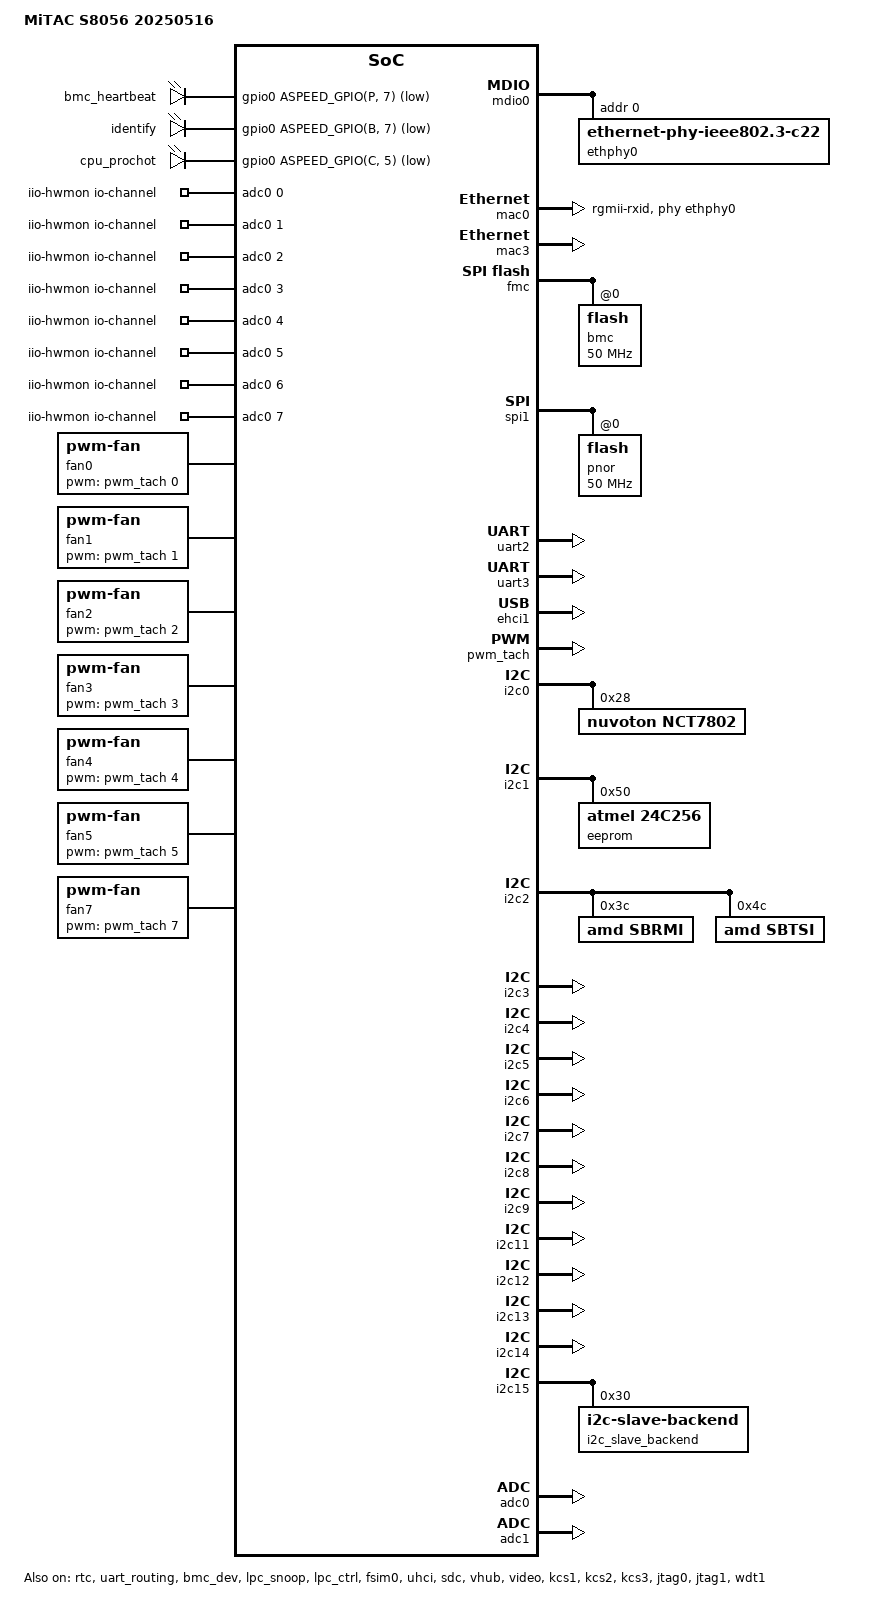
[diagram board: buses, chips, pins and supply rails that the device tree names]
// SPDX-License-Identifier: GPL-2.0-or-later
// Copyright 2019 IBM Corp.

/dts-v1/;

#include "aspeed-g6.dtsi"
#include <dt-bindings/gpio/aspeed-gpio.h>

/ {
	model = "MiTAC S8056 20250516";
	#include "aspeed-bmc-mitac-2600-reserved-memory.dtsi"

        leds {
                compatible = "gpio-leds";

                bmc_heartbeat {
                        gpios = <&gpio0 ASPEED_GPIO(P, 7) GPIO_ACTIVE_LOW>;
                        default-state = "on";
                };
		//Unable to use aspeed-bmc-mitac-common-leds.dtsi due to S8056 has different arrangement for identify led.
                identify {
                        gpios = <&gpio0 ASPEED_GPIO(B, 7) GPIO_ACTIVE_LOW>;
                        default-state = "on";
                };
                cpu_prochot {
                        gpios = <&gpio0 ASPEED_GPIO(C, 5) GPIO_ACTIVE_LOW>;
                        default-state = "off";
                };
        };

        gpio-keys {
                compatible = "gpio-keys";

		#include "aspeed-bmc-mitac-common-buttons.dtsi"
        };

        iio-hwmon {
                compatible = "iio-hwmon";
                io-channels = <&adc0 0>, <&adc0 1>, <&adc0 2>, <&adc0 3>,
                        <&adc0 4>, <&adc0 5>, <&adc0 6>, <&adc0 7>,
                        <&adc1 0>, <&adc1 1>, <&adc1 2>, <&adc1 3>,
                        <&adc1 4>, <&adc1 5>, <&adc1 6>, <&adc1 7>;
        };

        fan0: pwm-fan0 {
                compatible = "pwm-fan";
                pwms = <&pwm_tach 0 40000 0>;   /* Target freq:25 kHz */
                cooling-min-state = <0>;
                cooling-max-state = <3>;
                #cooling-cells = <2>;
                cooling-levels = <0 20 40 64>;
        };

        fan1: pwm-fan1 {
                compatible = "pwm-fan";
                pwms = <&pwm_tach 1 40000 0>;   /* Target freq:25 kHz */
                cooling-min-state = <0>;
                cooling-max-state = <3>;
                #cooling-cells = <2>;
                cooling-levels = <0 32 64 128>;
        };

        fan2: pwm-fan2 {
                compatible = "pwm-fan";
                pwms = <&pwm_tach 2 40000 0>;   /* Target freq:25 kHz */
                cooling-min-state = <0>;
                cooling-max-state = <3>;
                #cooling-cells = <2>;
                cooling-levels = <0 32 64 128>;
        };

        fan3: pwm-fan3 {
                compatible = "pwm-fan";
                pwms = <&pwm_tach 3 40000 0>;   /* Target freq:25 kHz */
                cooling-min-state = <0>;
                cooling-max-state = <3>;
                #cooling-cells = <2>;
                cooling-levels = <0 20 40 64>;
        };

        fan4: pwm-fan4 {
                compatible = "pwm-fan";
                pwms = <&pwm_tach 4 40000 0>;   /* Target freq:25 kHz */
                cooling-min-state = <0>;
                cooling-max-state = <3>;
                #cooling-cells = <2>;
                cooling-levels = <0 32 64 128>;
        };

        fan5: pwm-fan5 {
                compatible = "pwm-fan";
                pwms = <&pwm_tach 5 40000 0>;   /* Target freq:25 kHz */
                cooling-min-state = <0>;
                cooling-max-state = <3>;
                #cooling-cells = <2>;
                cooling-levels = <0 32 64 128>;
        };

        fan7: pwm-fan7 {
                compatible = "pwm-fan";
                pwms = <&pwm_tach 7 40000 0>;   /* Target freq:25 kHz */
                cooling-min-state = <0>;
                cooling-max-state = <3>;
                #cooling-cells = <2>;
                cooling-levels = <0 20 40 64>;
        };
};

&mdio0 {
	status = "okay";

	ethphy0: ethernet-phy@0 {
		compatible = "ethernet-phy-ieee802.3-c22";
		reg = <0>;
	};
};

&mac0 {
	status = "okay";

	phy-mode = "rgmii-rxid";
	phy-handle = <&ethphy0>;

	pinctrl-names = "default";
	pinctrl-0 = <&pinctrl_rgmii1_default>;
};

&mac3 {
        status = "okay";
        pinctrl-names = "default";
        pinctrl-0 = <&pinctrl_rmii4_default>;
	clock-names = "MACCLK", "RCLK";
        use-ncsi;
};

&rtc {
	status = "okay";
};

&fmc {
	status = "okay";
	flash@0 {
		status = "okay";
		m25p,fast-read;
		label = "bmc";
		spi-rx-bus-width = <4>;
		spi-max-frequency = <50000000>;
#include "MiOBMC-flash-layout-64.dtsi"
	};
};

&spi1 {
	status = "okay";
	pinctrl-names = "default";
	pinctrl-0 = <&pinctrl_spi1_default>;

	flash@0 {
		status = "okay";
		m25p,fast-read;
		label = "pnor";
		spi-rx-bus-width = <1>;
		spi-max-frequency = <50000000>;
	};
};

&uart2 {
        status = "okay";
};

&uart3 {
        status = "okay";
};

&uart5 {
	// Workaround for A0
	compatible = "snps,dw-apb-uart";
};

&uart_routing {
        status = "okay";
};

&bmc_dev {
        status = "okay";
        memory-region = <&bmc_dev_memory>;
};

/*
&vuart1{
        status = "okay";
};
*/

&lpc_snoop {
	status = "okay";
	snoop-ports = <0x80>, <0x81>;
};

&lpc_ctrl {
	status = "okay";
};

/*
&lpc_pcc {
        port-addr = <0x80>;
        dma-mode;
	// It is required to be 4 bytes mode when A2600-15 is activated.
        A2600-15;
        memory-region = <&pcc_memory>;
        rec-mode = <0x1>;
        port-addr-hbits-select = <0x1>;
        port-addr-xbits = <0x3>;

        status = "okay";
};
*/

&fsim0 {
	status = "okay";
};

&ehci1 {
	status = "okay";
};

&uhci {
	status = "okay";
};

&sdc {
	status = "okay";
};

&vhub {
	status = "okay";
	pinctrl-names = "default";
        pinctrl-0 = <&pinctrl_usb2ad_default>;
};

&video {
	status = "okay";
	memory-region = <&video_engine_memory>;
};

&kcs1 {
        kcs-io-addr = <0xca0>;
	kcs-channel = <1>;
        status = "okay";
};

&kcs2 {
        kcs-io-addr = <0xca8>;
	kcs-channel = <2>;
        status = "okay";
};

&kcs3 {
        kcs-io-addr = <0xca2>;
	kcs-channel = <3>;
        status = "okay";
};

&jtag0 {
	status = "okay";
};

&jtag1 {
	status = "disabled";
	status = "okay";
};

&wdt1 {
        status = "okay";
        pinctrl-names = "default";
        pinctrl-0 = <&pinctrl_wdtrst1_default>;
        aspeed,reset-type = "soc";
        aspeed,external-signal;
        aspeed,ext-push-pull;
        aspeed,ext-active-high;
        aspeed,ext-pulse-duration = <256>;
};

/*
&wdt2 {
        status = "okay";
        pinctrl-names = "default";
        pinctrl-0 = <&pinctrl_wdtrst2_default>;
        aspeed,reset-type = "system";
};
*/

&pwm_tach {
        status = "okay";
        pinctrl-names = "default";
        pinctrl-0 = <&pinctrl_pwm0_default &pinctrl_pwm1_default
                     &pinctrl_pwm2_default &pinctrl_pwm3_default
                     &pinctrl_pwm4_default &pinctrl_pwm5_default
                     &pinctrl_pwm7_default
                     &pinctrl_tach0_default &pinctrl_tach1_default
                     &pinctrl_tach2_default &pinctrl_tach3_default
                     &pinctrl_tach4_default &pinctrl_tach5_default
                     &pinctrl_tach6_default &pinctrl_tach7_default
                     &pinctrl_tach8_default &pinctrl_tach9_default
                     &pinctrl_tach10_default &pinctrl_tach11_default
                     &pinctrl_tach12_default &pinctrl_tach13_default
                     &pinctrl_tach14_default &pinctrl_tach15_default
                    >;

        fan@0 {
                tach-ch = /bits/ 8 <0x00>;
        };
        fan@1 {
                tach-ch = /bits/ 8 <0x01>;
        };
        fan@2 {
                tach-ch = /bits/ 8 <0x02>;
        };
        fan@3 {
                tach-ch = /bits/ 8 <0x03>;
        };
        fan@4 {
                tach-ch = /bits/ 8 <0x04>;
        };
        fan@5 {
                tach-ch = /bits/ 8 <0x05>;
        };
        fan@6 {
                tach-ch = /bits/ 8 <0x06>;
        };
        fan@7 {
                tach-ch = /bits/ 8 <0x07>;
        };
        fan@8 {
                tach-ch = /bits/ 8 <0x08>;
        };
        fan@9 {
                tach-ch = /bits/ 8 <0x09>;
        };
        fan@10 {
                tach-ch = /bits/ 8 <0x0A>;
        };
        fan@11 {
                tach-ch = /bits/ 8 <0x0B>;
        };
        fan@12 {
                tach-ch = /bits/ 8 <0x0C>;
        };
        fan@13 {
                tach-ch = /bits/ 8 <0x0D>;
        };
        fan@14 {
                tach-ch = /bits/ 8 <0x0E>;
        };
        fan@15 {
                tach-ch = /bits/ 8 <0x0F>;
        };
};

&mbox {
        status = "okay";
};

&i2c0 {
	status = "okay";

	nct7802@28 {
		compatible = "nuvoton,nct7802";
		reg = <0x28>;

		#address-cells = <1>;
		#size-cells = <0>;

		channel@1 {
			reg = <1>;
			sensor-type = "temperature";
			temperature-mode = "thermistor";
		};

		channel@2 {
			reg = <2>;
			sensor-type = "temperature";
			temperature-mode = "thermistor";
		};

		channel@3 {
			reg = <3>;
			sensor-type = "temperature";
			temperature-mode = "thermistor";
		};
	};
};

&i2c1 {
	status = "okay";
	// MB FRU
	eeprom@50 {
		compatible = "atmel,24c256";
		reg = <0x50>;
	};

};
&i2c2 {
    status = "okay";
    bus-frequency = <400000>;

    sbrmi@3c {
	    compatible = "amd,sbrmi";
        reg = <0x3c>;
    };

    sbtsi@4c {
        compatible = "amd,sbtsi";
        reg = <0x4c>;
    };
};
&i2c3 {
	status = "okay";
};
&i2c4 {
	status = "okay";
};
&i2c5 {
	status = "okay";
};
&i2c6 {
	status = "okay";
};
&i2c7 {
	status = "okay";
};
&i2c8 {
	status = "okay";
};
&i2c9 {
	status = "okay";
};

/* M24 MDC3
&i2c10 {
	status = "okay";
};
*/

&i2c11 {
	status = "okay";
};
&i2c12 {
	status = "okay";
};
&i2c13 {
	status = "okay";
};
&i2c14 {
	status = "okay";
};

&i2c15 {
 	status = "okay";
	i2c_slave_backend@30 {
		compatible = "i2c-slave-backend";
		reg = <0x30>;
	};
};


#include <dt-bindings/i3c/i3c.h>
&i3c0 {
        status = "disabled";
        bus-context = /bits/ 8 <I3C_BUS_CONTEXT_JESD403>;
        i2c-scl-hz = <100000>;
        i3c-scl-hz = <2000000>;

        //DIMM A
        spd5118_0_0: spd@50,3C000000000 {
                reg = <0x50 0x3C0 0x00000000>;
                assigned-address = <0x50>;
        };
        pmic5xxx_0_0: pmic@48,20400000000 {
                reg = <0x48 0x204 0x00000000>;
                assigned-address = <0x48>;
        };
        rcd_0_0: rcd@58,2C000000000 {
                reg = <0x58 0x2C0 0x00000000>;
                assigned-address = <0x58>;
        };
        //DIMM B
        spd5118_0_1: spd@51,3C000000001 {
                reg = <0x51 0x3C0 0x00000001>;
                assigned-address = <0x51>;
        };
        pmic5xxx_0_1: pmic@49,20400000001 {
                reg = <0x49 0x204 0x00000001>;
                assigned-address = <0x49>;
        };
        rcd_0_1: rcd@59,2C000000001 {
                reg = <0x59 0x2C0 0x00000001>;
                assigned-address = <0x59>;
        };
        //DIMM C
        spd5118_0_2: spd@52,3C000000002 {
                reg = <0x52 0x3C0 0x00000002>;
                assigned-address = <0x52>;
        };
        pmic5xxx_0_2: pmic@4a,20400000002 {
                reg = <0x4a 0x204 0x00000002>;
                assigned-address = <0x4a>;
        };
        rcd_0_2: rcd@5a,2C000000002 {
                reg = <0x5a 0x2C0 0x00000002>;
                assigned-address = <0x5a>;
        };
        //DIMM D
        spd5118_0_3: spd@53,3C000000003 {
                reg = <0x53 0x3C0 0x00000003>;
                assigned-address = <0x53>;
        };
        pmic5xxx_0_3: pmic@4b,20400000003 {
                reg = <0x4b 0x204 0x00000003>;
                assigned-address = <0x4b>;
        };
        rcd_0_3: rcd@5b,2C000000003 {
                reg = <0x5b 0x2C0 0x00000003>;
                assigned-address = <0x5b>;
        };
};

&i3c1 {
        status = "disabled";
        bus-context = /bits/ 8 <I3C_BUS_CONTEXT_JESD403>;
        i2c-scl-hz = <100000>;
        i3c-scl-hz = <2000000>;

        //DIMM G
        spd5118_1_0: spd@50,3C000000000 {
                reg = <0x50 0x3C0 0x00000000>;
                assigned-address = <0x50>;
        };
        pmic5xxx_1_0: pmic@48,20400000000 {
                reg = <0x48 0x204 0x00000000>;
                assigned-address = <0x48>;
        };
        rcd_1_0: rcd@58,2C000000000 {
                reg = <0x58 0x2C0 0x00000000>;
                assigned-address = <0x58>;
        };
        //DIMM H
        spd5118_1_1: spd@51,3C000000001 {
                reg = <0x51 0x3C0 0x00000001>;
                assigned-address = <0x51>;
        };
        pmic5xxx_1_1: pmic@49,20400000001 {
                reg = <0x49 0x204 0x00000001>;
                assigned-address = <0x49>;
        };
        rcd_1_1: rcd@59,2C000000001 {
                reg = <0x59 0x2C0 0x00000001>;
                assigned-address = <0x59>;
        };
        //DIMM I
        spd5118_1_2: spd@52,3C000000002 {
                reg = <0x52 0x3C0 0x00000002>;
                assigned-address = <0x52>;
        };
        pmic5xxx_1_2: pmic@4a,20400000002 {
                reg = <0x4a 0x204 0x00000002>;
                assigned-address = <0x4a>;
        };
        rcd_1_2: rcd@5a,2C000000002 {
                reg = <0x5a 0x2C0 0x00000002>;
                assigned-address = <0x5a>;
        };
        //DIMM J
        spd5118_1_3: spd@53,3C000000003 {
                reg = <0x53 0x3C0 0x00000003>;
                assigned-address = <0x53>;
        };
        pmic5xxx_1_3: pmic@4b,20400000003 {
                reg = <0x4b 0x204 0x00000003>;
                assigned-address = <0x4b>;
        };
        rcd_1_3: rcd@5b,2C000000003 {
                reg = <0x5b 0x2C0 0x00000003>;
                assigned-address = <0x5b>;
        };
};

&i3c2 {
        status = "disabled";
};

&i3c3 {
        status = "disabled";
};

&i3c4 {
        status = "disabled";
};

&adc0 {
        status = "okay";
        pinctrl-0 = <&pinctrl_adc0_default &pinctrl_adc1_default
                        &pinctrl_adc2_default &pinctrl_adc3_default
                        &pinctrl_adc4_default &pinctrl_adc5_default
                        &pinctrl_adc6_default &pinctrl_adc7_default>;
};

&adc1 {
        status = "okay";
        pinctrl-0 = <&pinctrl_adc8_default &pinctrl_adc9_default
			&pinctrl_adc10_default &pinctrl_adc11_default
			&pinctrl_adc12_default &pinctrl_adc13_default
			&pinctrl_adc14_default &pinctrl_adc15_default>;
};

&gpio0 {
	gpio-line-names =
	/*A0-A7*/	"gpio-a0","","","","","","","",
	/*B0-B7*/	"gpio-b0","","","","","","","",
	/*C0-C7*/	"gpio-c0","","","",
			"","","","",
	/*D0-D7*/	"gpio-d0","","","spi-mux-bios",
			"","","","",
	/*E0-E7*/	"gpio-e0","","","","","","","",
	/*F0-F7*/	"gpio-f0","","",
			"","","",
			"","",
	/*G0-G7*/	"","bmc-ready-n","","",
			"","chassis-power-good","","",
	/*H0-H7*/	"gpio-h0","","",
			"","","","","",
	/*I0-I7*/	"gpio-i0","","","","","","","",
	/*J0-J7*/	"gpio-j0","","","","","","","",
	/*K0-K7*/	"gpio-k0","","","","","","","",
	/*L0-L7*/	"gpio-l0","","","","","","","",
	/*M0-M7*/	"gpio-m0","","","",
			"","","","",
	/*N0-N7*/	"gpio-n0","","","",
			"","","","",
	/*O0-O7*/	"gpio-o0","","","","","","","",
	/*P0-P7*/	"reset-button","reset-control","power-button","power-control",
			"nmi-button","nmi-control","","",
	/*Q0-Q7*/	"gpio-q0","","","","","","","",
	/*R0-R7*/	"gpio-r0","","","","","","","",
	/*S0-S7*/	"gpio-s0","","","",
			"","","","",
	/*T0-T7*/	"gpio-t0","","","","","","","",
	/*U0-U7*/	"gpio-u0","","","","","","","",
	/*V0-V7*/	"SIO_S3","SIO_S5","","SIO_ONCONTROL",
			"SIO_POWER_GOOD","","","",
	/*W0-W7*/	"gpio-w0","","","",
			"","","","",
	/*X0-X7*/	"gpio-x0","cpu0-thermtrip",
			"bios-post-complete","",
			"","",
			"","",
	/*Y0-Y7*/	"gpio-y0","","","","","","","",
	/*Z0-Z7*/	"gpio-z0","","","","","","","";

	// "bmc-ready-n"
	/*
	gpio49 {
		gpio-hog;
		gpios = <ASPEED_GPIO(G, 1) GPIO_ACTIVE_LOW>;
		output-low;
		line-name = "gpio-hog-1";
	};
	*/
};

&gpio1 {
	gpio-line-names =
	/*18A0-18A7*/	"","","","",
			"","","","",
	/*18B0-18B7*/	"","","","","","","","",
	/*18C0-18C7*/	"","","","",
			"","","","",
	/*18D0-18D7*/	"","","","","","","","",
	/*18E0-18E3*/	"","","","";
};

#include "aspeed-bmc-mitac-common.dtsi"
